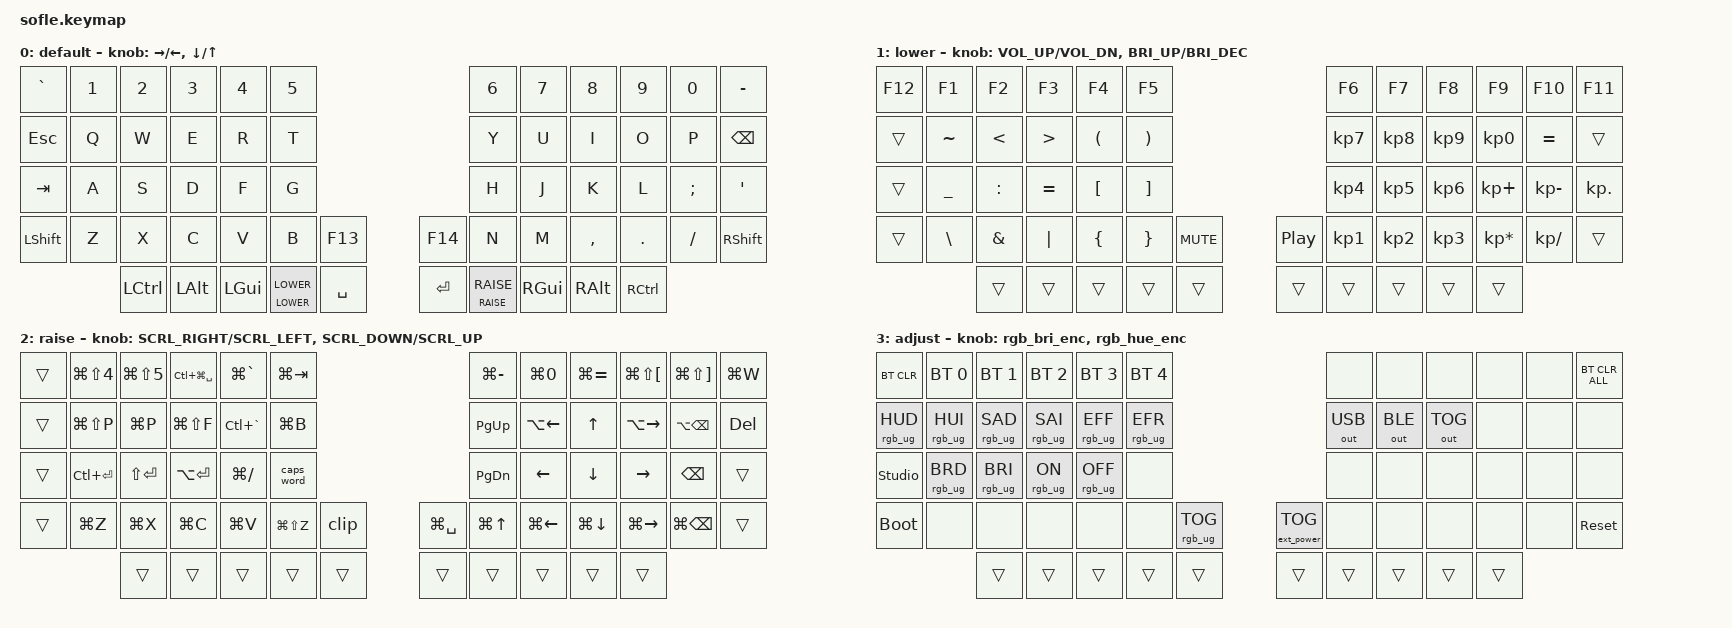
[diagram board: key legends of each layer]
/*
* Copyright (c) 2020 The ZMK Contributors
*
* SPDX-License-Identifier: MIT
*/

#include <behaviors.dtsi>
#include <dt-bindings/zmk/keys.h>
#include <dt-bindings/zmk/bt.h>
#include <dt-bindings/zmk/outputs.h>
#include <dt-bindings/zmk/pointing.h>
#include <dt-bindings/zmk/rgb.h>
#include <dt-bindings/zmk/ext_power.h>
#include <dt-bindings/led/led.h>

&pinctrl {
	spi3_default: spi3_default {
		group1 {
			psels = <NRF_PSEL(SPIM_MOSI, 0, 22)>; /* <<<--- different pin here */
		};
	};
	
	spi3_sleep: spi3_sleep {
		group1 {
			psels = <NRF_PSEL(SPIM_MOSI, 0, 22)>; /* <<<--- different pin here */
			low-power-enable;
		};
	};
};

&spi3 {
	compatible = "nordic,nrf-spim";
	status = "okay";
	
	pinctrl-0 = <&spi3_default>;
	pinctrl-1 = <&spi3_sleep>;
	pinctrl-names = "default", "sleep";
	
	led_strip: ws2812@0 {
		compatible = "worldsemi,ws2812-spi";
		
		/* SPI */
		reg = <0>; /* ignored, but necessary for SPI bindings */
		spi-max-frequency = <4000000>;
		
		/* WS2812 */
		chain-length = <7>; /* <<<--- different number of LEDs here */
		spi-one-frame = <0x70>;
		spi-zero-frame = <0x40>;
		
		color-mapping = <
		LED_COLOR_ID_GREEN
		LED_COLOR_ID_RED
		LED_COLOR_ID_BLUE
		>;
	};
};

// Part No. EC11N1525404
&sensors {
	triggers-per-rotation = <15>;
};

&left_encoder {
	steps = <30>;
};

&right_encoder {
	steps = <30>;
};

#define BASE 0
#define LOWER 1
#define RAISE 2
#define ADJUST 3

/ {
	chosen {
		zmk,underglow = &led_strip;
	};
	
	// Activate ADJUST layer by holding raise and lower
	conditional_layers {
		compatible = "zmk,conditional-layers";
		adjust_layer {
			if-layers = <LOWER RAISE>;
			then-layer = <ADJUST>;
		};
	};
	
	behaviors {
		// Hold = momentary layer, tap = toggle layer on/off.
		// hold-preferred so the layer engages the instant you press
		// another key, without waiting out the tapping term.
		lt_tog: layer_hold_toggle {
			compatible = "zmk,behavior-hold-tap";
			#binding-cells = <2>;
			flavor = "hold-preferred";
			tapping-term-ms = <200>;
			bindings = <&mo>, <&tog>;
		};
		
		// Encoder rotation driving mouse scroll instead of keypresses.
		scroll_enc: sensor_rotate_scroll {
			compatible = "zmk,behavior-sensor-rotate-var";
			#sensor-binding-cells = <2>;
			bindings = <&msc>, <&msc>;
			tap-ms = <20>;
		};
		
		// Encoder rotation driving underglow settings.
		rgb_bri_enc: sensor_rotate_rgb_brightness {
			compatible = "zmk,behavior-sensor-rotate";
			#sensor-binding-cells = <0>;
			bindings = <&rgb_ug RGB_BRI>, <&rgb_ug RGB_BRD>;
		};
		
		rgb_hue_enc: sensor_rotate_rgb_hue {
			compatible = "zmk,behavior-sensor-rotate";
			#sensor-binding-cells = <0>;
			bindings = <&rgb_ug RGB_HUI>, <&rgb_ug RGB_HUD>;
		};
	};
	
	macros {
		clip: clipboard_history {
			compatible = "zmk,behavior-macro";
			#binding-cells = <0>;
			wait-ms = <40>;
			tap-ms = <40>;
			bindings
			= <&kp LG(SPACE)>
			, <&macro_wait_time 250>
			, <&kp LG(N4)>;
		};
	};
	
	keymap {
		compatible = "zmk,keymap";
		
		default_layer {
			display-name = "default";
			// ---------------------------------------------------------------------------------------------------------
			// |   `   |  1  |  2  |  3  |  4  |  5  |                    |  6  |  7  |  8  |  9  |   0   |   -   |
			// |  ESC  |  Q  |  W  |  E  |  R  |  T  |                    |  Y  |  U  |  I  |  O  |   P   | BKSPC |
			// |  TAB  |  A  |  S  |  D  |  F  |  G  |                    |  H  |  J  |  K  |  L  |   ;   |   '   |
			// | SHIFT |  Z  |  X  |  C  |  V  |  B  | F13  |  | F14  |  N  |  M  |  ,  |  .  |   /   | SHIFT |
			//               | CTRL | ALT | GUI | LOWER | SPACE |  | ENTER | RAISE | RGUI | RALT | RCTRL |
			//
			// Encoder buttons: F13 (Mission Control)  |  F14 (App Expose)
			// Encoders: LEFT = RIGHT / LEFT arrow     RIGHT = DOWN / UP arrow
			bindings = <
			&kp GRAVE &kp N1     &kp N2   &kp N3   &kp N4    &kp N5                              &kp N6              &kp N7    &kp N8    &kp N9   &kp N0    &kp MINUS
			&kp ESC   &kp Q      &kp W    &kp E    &kp R     &kp T                               &kp Y               &kp U     &kp I     &kp O    &kp P     &kp BSPC
			&kp TAB   &kp A      &kp S    &kp D    &kp F     &kp G                               &kp H               &kp J     &kp K     &kp L    &kp SEMI  &kp SQT
			&kp LSHFT &kp Z      &kp X    &kp C    &kp V     &kp B     &kp F13         &kp F14   &kp N               &kp M     &kp COMMA &kp DOT  &kp FSLH  &kp RSHFT
			&kp LCTRL &kp LALT &kp LGUI &lt_tog LOWER LOWER &kp SPACE  &kp RET &lt_tog RAISE RAISE &kp RGUI &kp RALT  &kp RCTRL
			>;
			
			sensor-bindings = <&inc_dec_kp RIGHT LEFT &inc_dec_kp DOWN UP>;
		};
		
		lower_layer {
			display-name = "lower";
			// Theme: numbers, symbols, F-keys, media.
			// F-keys sit above their matching number: 1=F1 ... 0=F10, F11 on `-`, F12 on grave.
			// Left block is paired symbols. Index columns hold the three bracket pairs.
			// ---------------------------------------------------------------------------------------------------------
			// |  F12  |  F1 |  F2 |  F3 |  F4 |  F5 |                      |  F6 |  F7 |  F8 |  F9 |  F10  |  F11  |
			// |       |  ~  |  <  |  >  |  (  |  )  |                      | KP7 | KP8 | KP9 | KP0 |   =   |       |
			// |       |  _  |  :  |  =  |  [  |  ]  |                      | KP4 | KP5 | KP6 | KP+ |  KP-  |  KP.  |
			// |       |  \  |  &  |  |  |  {  |  }  | MUTE |  | PLAY  | KP1 | KP2 | KP3 | KP* |  KP/  |       |
			//               |     |     |     |     |      |  |       |     |     |     |     |
			//
			// Encoder buttons: MUTE  |  PLAY / PAUSE
			// Encoders: LEFT = VOL UP / DOWN          RIGHT = BRIGHTNESS UP / DOWN
			bindings = <
			&kp F12   &kp F1     &kp F2    &kp F3    &kp F4    &kp F5                              &kp F6    &kp F7    &kp F8    &kp F9          &kp F10       &kp F11
			&trans    &kp TILDE  &kp LT    &kp GT    &kp LPAR  &kp RPAR                            &kp KP_N7 &kp KP_N8 &kp KP_N9 &kp KP_N0       &kp EQUAL     &trans
			&trans    &kp UNDER  &kp COLON &kp EQUAL &kp LBKT  &kp RBKT                            &kp KP_N4 &kp KP_N5 &kp KP_N6 &kp KP_PLUS     &kp KP_MINUS  &kp KP_DOT
			&trans    &kp BSLH   &kp AMPS  &kp PIPE  &kp LBRC  &kp RBRC  &kp C_MUTE      &kp C_PP  &kp KP_N1 &kp KP_N2 &kp KP_N3 &kp KP_MULTIPLY &kp KP_DIVIDE &trans
			&trans    &trans    &trans    &trans    &trans      &trans &trans &trans    &trans    &trans
			>;
			
			sensor-bindings = <&inc_dec_kp C_VOL_UP C_VOL_DN &inc_dec_kp C_BRI_UP C_BRI_DEC>;
		};
		
		raise_layer {
			display-name = "raise";
			// Theme: getting around. Left hand = macOS, VSCode, Jupyter, clipboard.
			// Right hand = three tiers of movement: OPTION (word), plain (char), COMMAND (line/doc).
			// ---------------------------------------------------------------------------------------------------------
			// |     | SNIP    | SNIPMENU  | EMOJI   | WINCYC  | APPSW   |                       | ZOOM- | ZOOM0 | ZOOM+ |       |       | DEL |
			// |     | PALETTE | QUICKOPEN | FINDALL | TERM    | SIDEBAR |                       | PGUP  | WRD<- |   ^   | WRD-> | DELWRD| DEL |
			// |     | RUNCELL | RUN+NEXT  | RUN+NEW | COMMENT | CAPSWRD |                       | PGDN  |   <-  |   v   |  ->   | BKSPC |     |
			// |     | UNDO    | CUT       | COPY    | PASTE   | REDO    | CLIP |  | SPOTLGHT    |  DOC^ | LINE< | DOCv  | LINE> | DELLN |     |
			//             |           |         |         |         |      |  |          |       |       |       |       |
			//
			// Encoder buttons: CLIPBOARD HISTORY  |  SPOTLIGHT
			// Encoders: LEFT = SCROLL RIGHT / LEFT    RIGHT = SCROLL DOWN / UP
			bindings = <
			&trans &kp LG(LS(N4)) &kp LG(LS(N5)) &kp LC(LG(SPACE)) &kp LG(GRAVE) &kp LG(TAB)                  &kp LG(MINUS) &kp LG(N0)   &kp LG(EQUAL) &kp LG(LS(LBKT)) &kp LG(LS(RBKT)) &kp LG(W)
			&trans &kp LG(LS(P))  &kp LG(P)      &kp LG(LS(F))     &kp LC(GRAVE) &kp LG(B)                    &kp PG_UP     &kp LA(LEFT) &kp UP        &kp LA(RIGHT)    &kp LA(BSPC)     &kp DEL
			&trans &kp LC(RET)    &kp LS(RET)    &kp LA(RET)       &kp LG(FSLH)  &caps_word                   &kp PG_DN     &kp LEFT     &kp DOWN      &kp RIGHT        &kp BSPC         &trans
			&trans &kp LG(Z)      &kp LG(X)      &kp LG(C)         &kp LG(V)     &kp LG(LS(Z)) &clip  &kp LG(SPACE) &kp LG(UP) &kp LG(LEFT) &kp LG(DOWN) &kp LG(RIGHT)  &kp LG(BSPC)     &trans
			&trans         &trans            &trans        &trans        &trans &trans &trans        &trans       &trans        &trans
			>;
			
			sensor-bindings = <&scroll_enc SCRL_RIGHT SCRL_LEFT &scroll_enc SCRL_DOWN SCRL_UP>;
		};
		
		adjust_layer {
			display-name = "adjust";
			// Theme: settings only. Left half = underglow and firmware. Right half = connectivity.
			// ---------------------------------------------------------------------------------------------------------
			// | BTCLR   | BT1     | BT2     | BT3     | BT4     | BT5     |                     |     |     |      |  |  | BTCLRALL |
			// | RGB_HUD | RGB_HUI | RGB_SAD | RGB_SAI | RGB_EFF | RGB_EFR |                     | USB | BLE | OUT> |  |  |          |
			// | STUDIO  | RGB_BRD | RGB_BRI | RGB_ON  | RGB_OFF |         |                     |     |     |      |  |  |          |
			// | BOOTLD  |         |         |         |         |         | RGBTOG |  | EXTPWR |     |     |      |  |  |  RESET   |
			//                     |         |         |         |         |        |  |        |     |     |      |  |
			//
			// Encoder buttons: RGB ON / OFF  |  EXTERNAL POWER TOGGLE
			// Encoders: LEFT = RGB BRIGHTNESS         RIGHT = RGB HUE
			bindings = <
			&bt BT_CLR      &bt BT_SEL 0    &bt BT_SEL 1    &bt BT_SEL 2    &bt BT_SEL 3    &bt BT_SEL 4                             &none        &none        &none        &none &none &bt BT_CLR_ALL
			&rgb_ug RGB_HUD &rgb_ug RGB_HUI &rgb_ug RGB_SAD &rgb_ug RGB_SAI &rgb_ug RGB_EFF &rgb_ug RGB_EFR                          &out OUT_USB &out OUT_BLE &out OUT_TOG &none &none &none
			&studio_unlock  &rgb_ug RGB_BRD &rgb_ug RGB_BRI &rgb_ug RGB_ON  &rgb_ug RGB_OFF &none                                    &none        &none        &none        &none &none &none
			&bootloader     &none           &none           &none           &none           &none  &rgb_ug RGB_TOG &ext_power EP_TOG &none        &none        &none        &none &none &sys_reset
			&trans          &trans          &trans          &trans &trans            &trans   &trans &trans       &trans       &trans
			>;
			
			sensor-bindings = <&rgb_bri_enc &rgb_hue_enc>;
		};
	};
};
